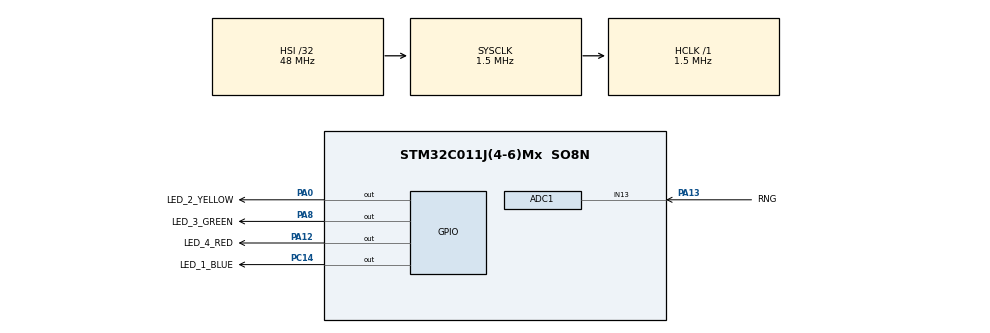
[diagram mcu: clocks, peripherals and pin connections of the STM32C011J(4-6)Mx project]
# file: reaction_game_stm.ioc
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ADC1.Channel-0\#ChannelRegularConversion=ADC_CHANNEL_13
ADC1.ContinuousConvMode=ENABLE
ADC1.NbrOfConversionFlag=1
ADC1.Rank-0\#ChannelRegularConversion=1
ADC1.SamplingTime-0\#ChannelRegularConversion=ADC_SAMPLINGTIME_COMMON_1
ADC1.SelectedChannel=ADC_CHANNEL_13
ADC1.master=1
Mcu.Family=STM32C0
Mcu.Name=STM32C011J(4-6)Mx
Mcu.Package=SO8N
PA0.GPIO_Label=LED_2_YELLOW
PA0.GPIO_PuPd=GPIO_PULLUP
PA0.PinState=GPIO_PIN_RESET
PA0.Signal=GPIO_Output
PA12\ [PA10].GPIO_Label=LED_4_RED
PA12\ [PA10].GPIO_PuPd=GPIO_PULLUP
PA12\ [PA10].Signal=GPIO_Output
PA13.GPIO_Label=RNG
PA13.Mode=IN13
PA13.Signal=ADC1_IN13
PA8.GPIO_Label=LED_3_GREEN
PA8.GPIO_PuPd=GPIO_PULLUP
PA8.Signal=GPIO_Output
PA8__PA11\ [PA9].StandardMode=true
PC14-OSCX_IN\ (PC14).GPIO_Label=LED_1_BLUE
PC14-OSCX_IN\ (PC14).GPIO_PuPd=GPIO_PULLUP
PC14-OSCX_IN\ (PC14).Signal=GPIO_Output
PC14-OSCX_IN\ (PC14)__PB7.StandardMode=true
PC15-OSCX_OUT\ (PC15)__PA14-BOOT0__PB6.StandardMode=true
PF2-NRST__PA0__PA1__PA2.StandardMode=true
ProjectManager.HeapSize=0x200
ProjectManager.StackSize=0x400
ProjectManager.TargetToolchain=STM32CubeIDE
RCC.ADCFreq_Value=1500000
RCC.AHBFreq_Value=1500000
RCC.CortexFreq_Value=1500000
RCC.EXTERNAL_CLOCK_VALUE=12288000
RCC.HCLKFreq_Value=1500000
RCC.HSE_VALUE=8000000
RCC.HSISYSCLKDivider=RCC_HSI_DIV32
RCC.HSI_VALUE=48000000
RCC.LSE_VALUE=32768
RCC.SYSCLKFreq_VALUE=1500000
board=custom

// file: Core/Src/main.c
/* USER CODE BEGIN Header */

/**
 **************************************************
 *
 * @file        main.c
 * @brief       STM32 code for Reaction Game
 *              Soldering Kit from Soldered.
 *
 * @note        In order to successfully run this code, make sure to use STM32 cube programmer
 * 				And set Option Bytes -> User Configuration -> NRST_MODE 2
 *
 * @authors     Robert Soric for soldered.com
 ***************************************************/
/* USER CODE END Header */
#include "main.h"

/* USER CODE BEGIN Includes */
#include "game.h"
/* USER CODE END Includes */

ADC_HandleTypeDef hadc1;

/* USER CODE BEGIN PV */

// List of ports, used for GPIO writes
GPIO_TypeDef *portList[] = {
LED_1_BLUE_GPIO_Port,
LED_2_YELLOW_GPIO_Port,
LED_3_GREEN_GPIO_Port,
LED_4_RED_GPIO_Port };

// List of pins, used for GPIO writes
uint16_t pinList[] = {
LED_1_BLUE_Pin,
LED_2_YELLOW_Pin,
LED_3_GREEN_Pin,
LED_4_RED_Pin };

// Variables which remember the state of the game
uint8_t score = 0;
uint16_t reactionTime = 1000;
uint16_t conutdown = 0;
uint8_t secretKey;

/* USER CODE END PV */

void SystemClock_Config(void);
static void MX_GPIO_Init(void);
static void MX_ADC1_Init(void);

int main(void) {

	/* MCU Configuration--------------------------------------------------------*/

	/* Reset of all peripherals, Initializes the Flash interface and the Systick. */
	HAL_Init();

	/* Configure the system clock */
	SystemClock_Config();

	/* USER CODE BEGIN SysInit */
	// Wait 100 ms in case the finished device needs to be reprogrammed
	HAL_Delay(100);

	// Wait four seconds before initializing debug pin SWDIO as an analog read
	// So the device can be reprogrammed (development mode)
	//HAL_Delay(4000);
	/* USER CODE END SysInit */

	/* Initialize all configured peripherals */
	MX_GPIO_Init();
	MX_ADC1_Init();
	/* USER CODE BEGIN 2 */

	// Begin ADC on empty pin for generating a pseudo random number
	HAL_ADC_Start(&hadc1);

	for (int i = 0; i < 4; i++) {
		HAL_GPIO_WritePin(portList[i], pinList[i], GPIO_PIN_SET);
	}
	showStartAnimation(portList, pinList);

	/* USER CODE END 2 */

	/* Infinite loop */
	/* USER CODE BEGIN WHILE */
	while (1) {

		// Main game loop

		// Show the button to press
		showSequence(&hadc1, &secretKey, portList, pinList);

		// Read the keys and reaction time
		if (getKeys(conutdown, reactionTime, secretKey, portList, pinList)) {
			if (reactionTime > 500) {
				reactionTime -= REACTION_TIME_STEP1;
			} else if ((reactionTime <= 500) && (reactionTime > 150)) {
				reactionTime -= REACTION_TIME_STEP2;
			} else if ((reactionTime <= 150) && (reactionTime > 5)) {
				reactionTime -= REACTION_TIME_STEP3;
			}

			// The correct button was pressed in time, increment the score
			score++;

			// Wait for a random peior in time between 500 ms and 2700 ms
			HAL_Delay(500 + calculateNewRandomInRange(&hadc1, 2300));
		} else {

			// The correct button wasn't pressed in time!
			// Show fail animation and score
			HAL_Delay(500);
			showFailAnimation(portList, pinList);
			HAL_Delay(500);
			showResult(score, portList, pinList);
			HAL_Delay(500);

			// Reset variables and restart the game
			reactionTime = 1000;
			score = 0;
			showStartAnimation(portList, pinList);
		}

		/* USER CODE END WHILE */

	}
}

void SystemClock_Config(void) {
	RCC_OscInitTypeDef RCC_OscInitStruct = { 0 };
	RCC_ClkInitTypeDef RCC_ClkInitStruct = { 0 };

	/** Initializes the RCC Oscillators according to the specified parameters
	 * in the RCC_OscInitTypeDef structure.
	 */
	RCC_OscInitStruct.OscillatorType = RCC_OSCILLATORTYPE_HSI;
	RCC_OscInitStruct.HSIState = RCC_HSI_ON;
	RCC_OscInitStruct.HSIDiv = RCC_HSI_DIV32;
	RCC_OscInitStruct.HSICalibrationValue = RCC_HSICALIBRATION_DEFAULT;
	if (HAL_RCC_OscConfig(&RCC_OscInitStruct) != HAL_OK) {
		Error_Handler();
	}

	/** Initializes the CPU, AHB and APB buses clocks
	 */
	RCC_ClkInitStruct.ClockType = RCC_CLOCKTYPE_HCLK | RCC_CLOCKTYPE_SYSCLK
			| RCC_CLOCKTYPE_PCLK1;
	RCC_ClkInitStruct.SYSCLKSource = RCC_SYSCLKSOURCE_HSI;
	RCC_ClkInitStruct.SYSCLKDivider = RCC_SYSCLK_DIV1;
	RCC_ClkInitStruct.AHBCLKDivider = RCC_HCLK_DIV1;
	RCC_ClkInitStruct.APB1CLKDivider = RCC_APB1_DIV1;

	if (HAL_RCC_ClockConfig(&RCC_ClkInitStruct, FLASH_LATENCY_0) != HAL_OK) {
		Error_Handler();
	}
}

static void MX_ADC1_Init(void) {

	ADC_ChannelConfTypeDef sConfig = { 0 };

	/* USER CODE BEGIN ADC1_Init 1 */
	GPIO_InitTypeDef gpioInit;
	__GPIOA_CLK_ENABLE()
	;
	gpioInit.Pin = GPIO_PIN_13;
	gpioInit.Mode = GPIO_MODE_ANALOG;
	gpioInit.Pull = GPIO_NOPULL;
	HAL_GPIO_Init(GPIOC, &gpioInit);
	/* USER CODE END ADC1_Init 1 */

	/** Configure the global features of the ADC (Clock, Resolution, Data Alignment and number of conversion)
	 */
	hadc1.Instance = ADC1;
	hadc1.Init.ClockPrescaler = ADC_CLOCK_ASYNC_DIV1;
	hadc1.Init.Resolution = ADC_RESOLUTION_12B;
	hadc1.Init.DataAlign = ADC_DATAALIGN_RIGHT;
	hadc1.Init.ScanConvMode = ADC_SCAN_DISABLE;
	hadc1.Init.EOCSelection = ADC_EOC_SINGLE_CONV;
	hadc1.Init.LowPowerAutoWait = DISABLE;
	hadc1.Init.LowPowerAutoPowerOff = DISABLE;
	hadc1.Init.ContinuousConvMode = ENABLE;
	hadc1.Init.NbrOfConversion = 1;
	hadc1.Init.ExternalTrigConv = ADC_SOFTWARE_START;
	hadc1.Init.ExternalTrigConvEdge = ADC_EXTERNALTRIGCONVEDGE_NONE;
	hadc1.Init.DMAContinuousRequests = DISABLE;
	hadc1.Init.Overrun = ADC_OVR_DATA_PRESERVED;
	hadc1.Init.SamplingTimeCommon1 = ADC_SAMPLETIME_1CYCLE_5;
	hadc1.Init.SamplingTimeCommon2 = ADC_SAMPLETIME_1CYCLE_5;
	hadc1.Init.OversamplingMode = DISABLE;
	hadc1.Init.TriggerFrequencyMode = ADC_TRIGGER_FREQ_HIGH;
	if (HAL_ADC_Init(&hadc1) != HAL_OK) {
		Error_Handler();
	}

	/** Configure Regular Channel
	 */
	sConfig.Channel = ADC_CHANNEL_13;
	sConfig.Rank = ADC_REGULAR_RANK_1;
	sConfig.SamplingTime = ADC_SAMPLINGTIME_COMMON_1;
	if (HAL_ADC_ConfigChannel(&hadc1, &sConfig) != HAL_OK) {
		Error_Handler();
	}

}

static void MX_GPIO_Init(void) {
	GPIO_InitTypeDef GPIO_InitStruct = { 0 };

	/* GPIO Ports Clock Enable */
	__HAL_RCC_GPIOC_CLK_ENABLE();
	__HAL_RCC_GPIOA_CLK_ENABLE();

	/*Configure GPIO pin Output Level */
	HAL_GPIO_WritePin(LED_1_BLUE_GPIO_Port, LED_1_BLUE_Pin, GPIO_PIN_RESET);

	/*Configure GPIO pin Output Level */
	HAL_GPIO_WritePin(GPIOA, LED_2_YELLOW_Pin | LED_3_GREEN_Pin | LED_4_RED_Pin,
			GPIO_PIN_RESET);

	/*Configure GPIO pin : LED_1_BLUE_Pin */
	GPIO_InitStruct.Pin = LED_1_BLUE_Pin;
	GPIO_InitStruct.Mode = GPIO_MODE_OUTPUT_PP;
	GPIO_InitStruct.Pull = GPIO_PULLUP;
	GPIO_InitStruct.Speed = GPIO_SPEED_FREQ_LOW;
	HAL_GPIO_Init(LED_1_BLUE_GPIO_Port, &GPIO_InitStruct);

	/*Configure GPIO pins : LED_2_YELLOW_Pin LED_3_GREEN_Pin LED_4_RED_Pin */
	GPIO_InitStruct.Pin = LED_2_YELLOW_Pin | LED_3_GREEN_Pin | LED_4_RED_Pin;
	GPIO_InitStruct.Mode = GPIO_MODE_OUTPUT_PP;
	GPIO_InitStruct.Pull = GPIO_PULLUP;
	GPIO_InitStruct.Speed = GPIO_SPEED_FREQ_LOW;
	HAL_GPIO_Init(GPIOA, &GPIO_InitStruct);

	/**/
	HAL_SYSCFG_SetPinBinding(
			HAL_BIND_SO8_PIN1_PC14 | HAL_BIND_SO8_PIN4_PA0
					| HAL_BIND_SO8_PIN5_PA8);

}

void Error_Handler(void) {
	__disable_irq();
	while (1) {
	}
}
